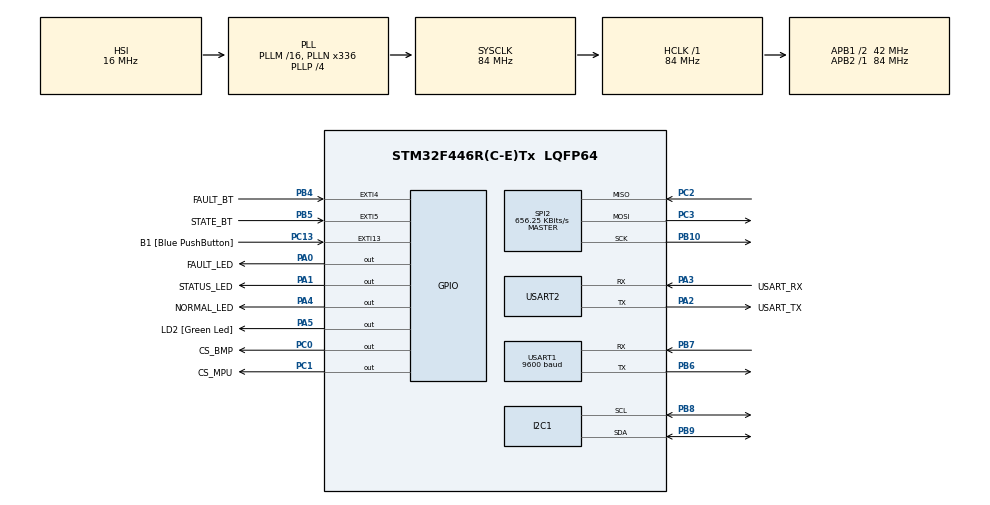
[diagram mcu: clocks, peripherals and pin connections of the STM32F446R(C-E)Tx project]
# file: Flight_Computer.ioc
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FREERTOS.Queues01=sensorFrameQueue,1,sensor_frame_t,0,Dynamic,NULL,NULL;sensorDebugQueue,1,sensor_frame_t,0,Dynamic,NULL,NULL
FREERTOS.Tasks01=defaultTask,24,1024,StartDefaultTask,Default,NULL,Dynamic,NULL,NULL;SensorTask,45,1024,StartSensorTask,Default,NULL,Dynamic,NULL,NULL;StateEstTask,28,512,StartStateEstTask,Default,NULL,Dynamic,NULL,NULL;GPSTask,27,512,StartGPSTask,Default,NULL,Dynamic,NULL,NULL;FaultManageTask,36,512,StartFaultManageTask,Default,NULL,Dynamic,NULL,NULL;LoggerTask,18,512,StartLoggerTask,Default,NULL,Dynamic,NULL,NULL
Mcu.Family=STM32F4
Mcu.Name=STM32F446R(C-E)Tx
Mcu.Package=LQFP64
NVIC.EXTI4_IRQn=true\:5\:0\:false\:false\:true\:true\:true\:true\:true
NVIC.EXTI9_5_IRQn=true\:5\:0\:false\:false\:true\:true\:true\:true\:true
NVIC.EXTI15_10_IRQn=true\:5\:0\:false\:false\:true\:true\:true\:true\:true
NVIC.PriorityGroup=NVIC_PRIORITYGROUP_4
NVIC.USART2_IRQn=true\:5\:0\:false\:false\:true\:true\:true\:true\:true
PA0-WKUP.GPIO_Label=FAULT_LED
PA0-WKUP.Signal=GPIO_Output
PA1.GPIO_Label=STATUS_LED
PA1.Signal=GPIO_Output
PA13.GPIO_Label=TMS
PA13.Mode=Serial_Wire
PA13.Signal=SYS_JTMS-SWDIO
PA14.GPIO_Label=TCK
PA14.Mode=Serial_Wire
PA14.Signal=SYS_JTCK-SWCLK
PA2.GPIO_Label=USART_TX
PA2.Mode=Asynchronous
PA2.Signal=USART2_TX
PA3.GPIO_Label=USART_RX
PA3.Mode=Asynchronous
PA3.Signal=USART2_RX
PA4.GPIO_Label=NORMAL_LED
PA4.Signal=GPIO_Output
PA5.GPIO_Label=LD2 [Green Led]
PA5.Signal=GPIO_Output
PB10.Mode=Full_Duplex_Master
PB10.Signal=SPI2_SCK
PB3.GPIO_Label=SWO
PB3.Signal=SYS_JTDO-SWO
PB4.GPIO_Label=FAULT_BT
PB4.GPIO_ModeDefaultEXTI=GPIO_MODE_IT_FALLING
PB4.GPIO_PuPd=GPIO_PULLUP
PB4.Signal=GPXTI4
PB5.GPIO_Label=STATE_BT
PB5.GPIO_ModeDefaultEXTI=GPIO_MODE_IT_FALLING
PB5.GPIO_PuPd=GPIO_PULLUP
PB5.Signal=GPXTI5
PB6.Mode=Asynchronous
PB6.Signal=USART1_TX
PB7.Mode=Asynchronous
PB7.Signal=USART1_RX
PB8.GPIO_Pu=GPIO_NOPULL
PB8.Mode=I2C
PB8.Signal=I2C1_SCL
PB9.GPIO_Pu=GPIO_NOPULL
PB9.Mode=I2C
PB9.Signal=I2C1_SDA
PC0.GPIO_Label=CS_BMP
PC0.PinState=GPIO_PIN_SET
PC0.Signal=GPIO_Output
PC1.GPIO_Label=CS_MPU
PC1.PinState=GPIO_PIN_SET
PC1.Signal=GPIO_Output
PC13.GPIO_Label=B1 [Blue PushButton]
PC13.GPIO_ModeDefaultEXTI=GPIO_MODE_IT_FALLING
PC13.Signal=GPXTI13
PC14-OSC32_IN.Mode=LSE-External-Oscillator
PC14-OSC32_IN.Signal=RCC_OSC32_IN
PC15-OSC32_OUT.Mode=LSE-External-Oscillator
PC15-OSC32_OUT.Signal=RCC_OSC32_OUT
PC2.Mode=Full_Duplex_Master
PC2.Signal=SPI2_MISO
PC3.Mode=Full_Duplex_Master
PC3.Signal=SPI2_MOSI
PH0-OSC_IN.Mode=HSE-External-Oscillator
PH0-OSC_IN.Signal=RCC_OSC_IN
PH1-OSC_OUT.Mode=HSE-External-Oscillator
PH1-OSC_OUT.Signal=RCC_OSC_OUT
ProjectManager.HeapSize=0x200
ProjectManager.StackSize=0x400
ProjectManager.TargetToolchain=STM32CubeIDE
RCC.48MHZClocksFreq_Value=84000000
RCC.AHBFreq_Value=84000000
RCC.APB1CLKDivider=RCC_HCLK_DIV2
RCC.APB1Freq_Value=42000000
RCC.APB1TimFreq_Value=84000000
RCC.APB2Freq_Value=84000000
RCC.APB2TimFreq_Value=84000000
RCC.CortexFreq_Value=84000000
RCC.FLatency-AdvancedSettings=FLASH_LATENCY_2
RCC.HCLKFreq_Value=84000000
RCC.HSE_VALUE=8000000
RCC.HSI_VALUE=16000000
RCC.PLLN=336
RCC.PLLP=RCC_PLLP_DIV4
RCC.SYSCLKFreq_VALUE=84000000
RCC.SYSCLKSource=RCC_SYSCLKSOURCE_PLLCLK
RCC.USBFreq_Value=168000000
RCC.VCOOutputFreq_Value=336000000
SPI2.BaudRatePrescaler=SPI_BAUDRATEPRESCALER_64
SPI2.CalculateBaudRate=656.25 KBits/s
SPI2.Direction=SPI_DIRECTION_2LINES
SPI2.Mode=SPI_MODE_MASTER
SPI2.VirtualType=VM_MASTER
USART1.BaudRate=9600
USART1.VirtualMode=VM_ASYNC
USART2.VirtualMode=VM_ASYNC
VP_FREERTOS_VS_CMSIS_V2.Mode=CMSIS_V2
board=NUCLEO-F446RE

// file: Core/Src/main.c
/* USER CODE BEGIN Header */
/**
  ******************************************************************************
  * @file           : main.c
  * @brief          : Main program body
  ******************************************************************************
  * @attention
  *
  * Copyright (c) 2026 STMicroelectronics.
  * All rights reserved.
  *
  * This software is licensed under terms that can be found in the LICENSE file
  * in the root directory of this software component.
  * If no LICENSE file comes with this software, it is provided AS-IS.
  *
  ******************************************************************************
  */
/* USER CODE END Header */
#include "main.h"
#include "cmsis_os.h"
#include "i2c.h"
#include "spi.h"
#include "usart.h"
#include "gpio.h"

/* USER CODE BEGIN Includes */
#include "system_health.h"
#include "system_state.h"
#include "self_test.h"
#include "button.h"
#include "led.h"
#include "BMP280.h"
#include "MPU9250.h"
#include "MLX90393.h"
#include "sensor_data.h"
#include "string.h"
#include "stdio.h"
#include <stdbool.h>

/* USER CODE END Includes */

void SystemClock_Config(void);
void MX_FREERTOS_Init(void);

int main(void)
{

  /* MCU Configuration--------------------------------------------------------*/

  /* Reset of all peripherals, Initializes the Flash interface and the Systick. */
  HAL_Init();

  /* Configure the system clock */
  SystemClock_Config();

  /* Initialize all configured peripherals */
  MX_GPIO_Init();
  MX_USART2_UART_Init();
  MX_I2C1_Init();
  MX_SPI2_Init();
  MX_USART1_UART_Init();
  /* USER CODE BEGIN 2 */
  char msg[] = "MAIN STARTED\r\n";
  HAL_UART_Transmit(&huart2,
                    (uint8_t *)msg,
                    strlen(msg),
                    HAL_MAX_DELAY);

  current_system_state = SELF_TEST;

  /* Self Test */

  SelfTest();

  extern volatile BMP_TestResult_t bmp_test_result;
  extern volatile MPU_TestResult_t mpu_test_result;
  extern volatile MLX_TestResult_t mlx_test_result;
  char selftest_data[500];

  sprintf(selftest_data,
          "\r\n"
          "========== SELF TEST ==========\r\n"
          "\r\n"
          "BMP280  : %s\r\n"
          "MPU9250 : %s\r\n"
          "MLX90393: %s\r\n"
          "\r\n"
          "STARTUP SENSOR CHECK: %s\r\n"
          "===============================\r\n",

          (bmp_test_result == BMP_OK) ? "PASS" :
          (bmp_test_result == BMP_READID_FAIL) ? "READ ID FAIL" :
          (bmp_test_result == BMP_ID_FAIL) ? "ID FAIL" :
          (bmp_test_result == BMP_INIT_FAIL) ? "INIT FAIL" :
          (bmp_test_result == BMP_LOAD_FAIL) ? "CALIBRATION FAIL" :
          (bmp_test_result == BMP_READ_FAIL) ? "DATA READ FAIL" :
                                               "UNKNOWN",

          (mpu_test_result == MPU_OK) ? "PASS" :
          (mpu_test_result == MPU_READID_FAIL) ? "READ ID FAIL" :
          (mpu_test_result == MPU_ID_FAIL) ? "ID FAIL" :
          (mpu_test_result == MPU_INIT_FAIL) ? "INIT FAIL" :
          (mpu_test_result == MPU_READ_FAIL) ? "DATA READ FAIL" :
                                               "UNKNOWN",

          (mlx_test_result == MLX_OK) ? "PASS" :
          (mlx_test_result == MLX_I2C_FAIL) ? "I2C FAIL" :
          (mlx_test_result == MLX_CONFIG_FAIL) ? "CONFIG FAIL" :
                                                 "UNKNOWN",

          (current_health_state == NORMAL) ? "PASS" :
          (current_health_state == FAULT) ? "FAULT" :
          (current_health_state == CRITICAL_FAULT) ? "CRITICAL FAULT" : "UNKNOWN"
  );

  HAL_UART_Transmit(&huart2,
                    (uint8_t *)selftest_data,
                    strlen(selftest_data),
                    HAL_MAX_DELAY);

  /* USER CODE END 2 */

  /* Init scheduler */
  osKernelInitialize();  /* Call init function for freertos objects (in cmsis_os2.c) */
  MX_FREERTOS_Init();

  /* Start scheduler */
  osKernelStart();

  /* We should never get here as control is now taken by the scheduler */

  /* Infinite loop */
  while (1)
  {

  }
}

void SystemClock_Config(void)
{
  RCC_OscInitTypeDef RCC_OscInitStruct = {0};
  RCC_ClkInitTypeDef RCC_ClkInitStruct = {0};

  /** Configure the main internal regulator output voltage
  */
  __HAL_RCC_PWR_CLK_ENABLE();
  __HAL_PWR_VOLTAGESCALING_CONFIG(PWR_REGULATOR_VOLTAGE_SCALE3);

  /** Initializes the RCC Oscillators according to the specified parameters
  * in the RCC_OscInitTypeDef structure.
  */
  RCC_OscInitStruct.OscillatorType = RCC_OSCILLATORTYPE_HSI;
  RCC_OscInitStruct.HSIState = RCC_HSI_ON;
  RCC_OscInitStruct.HSICalibrationValue = RCC_HSICALIBRATION_DEFAULT;
  RCC_OscInitStruct.PLL.PLLState = RCC_PLL_ON;
  RCC_OscInitStruct.PLL.PLLSource = RCC_PLLSOURCE_HSI;
  RCC_OscInitStruct.PLL.PLLM = 16;
  RCC_OscInitStruct.PLL.PLLN = 336;
  RCC_OscInitStruct.PLL.PLLP = RCC_PLLP_DIV4;
  RCC_OscInitStruct.PLL.PLLQ = 2;
  RCC_OscInitStruct.PLL.PLLR = 2;
  if (HAL_RCC_OscConfig(&RCC_OscInitStruct) != HAL_OK)
  {
    Error_Handler();
  }

  /** Initializes the CPU, AHB and APB buses clocks
  */
  RCC_ClkInitStruct.ClockType = RCC_CLOCKTYPE_HCLK|RCC_CLOCKTYPE_SYSCLK
                              |RCC_CLOCKTYPE_PCLK1|RCC_CLOCKTYPE_PCLK2;
  RCC_ClkInitStruct.SYSCLKSource = RCC_SYSCLKSOURCE_PLLCLK;
  RCC_ClkInitStruct.AHBCLKDivider = RCC_SYSCLK_DIV1;
  RCC_ClkInitStruct.APB1CLKDivider = RCC_HCLK_DIV2;
  RCC_ClkInitStruct.APB2CLKDivider = RCC_HCLK_DIV1;

  if (HAL_RCC_ClockConfig(&RCC_ClkInitStruct, FLASH_LATENCY_2) != HAL_OK)
  {
    Error_Handler();
  }
}

void Error_Handler(void)
{
  __disable_irq();
  while (1)
  {
  }
}

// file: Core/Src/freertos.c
/* USER CODE BEGIN Header */
/**
  ******************************************************************************
  * File Name          : freertos.c
  * Description        : Code for freertos applications
  ******************************************************************************
  * @attention
  *
  * Copyright (c) 2026 STMicroelectronics.
  * All rights reserved.
  *
  * This software is licensed under terms that can be found in the LICENSE file
  * in the root directory of this software component.
  * If no LICENSE file comes with this software, it is provided AS-IS.
  *
  ******************************************************************************
  */
/* USER CODE END Header */

#include "FreeRTOS.h"
#include "task.h"
#include "main.h"
#include "cmsis_os.h"

/* USER CODE BEGIN Includes */
#include "led.h"
#include "system_health.h"
#include "system_state.h"
#include "BMP280.h"
#include "MPU9250.h"
#include "MLX90393.h"
#include "sensor_data.h"
#include "usart.h"
#include "button.h"
#include "gps.h"
#include "mahony.h"

#include <stdio.h>
#include <string.h>
#include <stdlib.h>
/* USER CODE END Includes */

/* USER CODE BEGIN Variables */

/* Debugger-visible indicators that StateEstTask is receiving sensor frames. */
static sensor_frame_t estimator_latest_frame;
static volatile uint32_t estimator_frame_count;
static volatile float estimator_dt_seconds;

/* USER CODE END Variables */
/* Definitions for defaultTask */
osThreadId_t defaultTaskHandle;
const osThreadAttr_t defaultTask_attributes = {
  .name = "defaultTask",
  .stack_size = 1024 * 4,
  .priority = (osPriority_t) osPriorityNormal,
};
/* Definitions for SensorTask */
osThreadId_t SensorTaskHandle;
const osThreadAttr_t SensorTask_attributes = {
  .name = "SensorTask",
  .stack_size = 1024 * 4,
  .priority = (osPriority_t) osPriorityHigh5,
};
/* Definitions for StateEstTask */
osThreadId_t StateEstTaskHandle;
const osThreadAttr_t StateEstTask_attributes = {
  .name = "StateEstTask",
  .stack_size = 512 * 4,
  .priority = (osPriority_t) osPriorityNormal4,
};
/* Definitions for GPSTask */
osThreadId_t GPSTaskHandle;
const osThreadAttr_t GPSTask_attributes = {
  .name = "GPSTask",
  .stack_size = 512 * 4,
  .priority = (osPriority_t) osPriorityNormal3,
};
/* Definitions for FaultManageTask */
osThreadId_t FaultManageTaskHandle;
const osThreadAttr_t FaultManageTask_attributes = {
  .name = "FaultManageTask",
  .stack_size = 512 * 4,
  .priority = (osPriority_t) osPriorityAboveNormal4,
};
/* Definitions for LoggerTask */
osThreadId_t LoggerTaskHandle;
const osThreadAttr_t LoggerTask_attributes = {
  .name = "LoggerTask",
  .stack_size = 512 * 4,
  .priority = (osPriority_t) osPriorityBelowNormal2,
};
/* Definitions for sensorFrameQueue */
osMessageQueueId_t sensorFrameQueueHandle;
const osMessageQueueAttr_t sensorFrameQueue_attributes = {
  .name = "sensorFrameQueue"
};
/* Definitions for sensorDebugQueue */
osMessageQueueId_t sensorDebugQueueHandle;
const osMessageQueueAttr_t sensorDebugQueue_attributes = {
  .name = "sensorDebugQueue"
};

void StartDefaultTask(void *argument);
void StartSensorTask(void *argument);
void StartStateEstTask(void *argument);
void StartGPSTask(void *argument);
void StartFaultManageTask(void *argument);
void StartLoggerTask(void *argument);

void MX_FREERTOS_Init(void); /* (MISRA C 2004 rule 8.1) */

void MX_FREERTOS_Init(void) {

  /* Create the queue(s) */
  /* creation of sensorFrameQueue */
  sensorFrameQueueHandle = osMessageQueueNew (1, sizeof(sensor_frame_t), &sensorFrameQueue_attributes);

  /* creation of sensorDebugQueue */
  sensorDebugQueueHandle = osMessageQueueNew (1, sizeof(sensor_frame_t), &sensorDebugQueue_attributes);

  /* USER CODE BEGIN RTOS_QUEUES */

  if ((sensorFrameQueueHandle == NULL) ||
      (sensorDebugQueueHandle == NULL))
  {
      static const char error[] = "RTOS ERROR: queue creation failed\r\n";
      (void)HAL_UART_Transmit(&huart2, (uint8_t *)error, sizeof(error) - 1U, 100U);
      Error_Handler();
  }

  /* USER CODE END RTOS_QUEUES */

  /* Create the thread(s) */
  /* creation of defaultTask */
  defaultTaskHandle = osThreadNew(StartDefaultTask, NULL, &defaultTask_attributes);

  /* creation of SensorTask */
  SensorTaskHandle = osThreadNew(StartSensorTask, NULL, &SensorTask_attributes);

  /* creation of StateEstTask */
  StateEstTaskHandle = osThreadNew(StartStateEstTask, NULL, &StateEstTask_attributes);

  /* creation of GPSTask */
  GPSTaskHandle = osThreadNew(StartGPSTask, NULL, &GPSTask_attributes);

  /* creation of FaultManageTask */
  FaultManageTaskHandle = osThreadNew(StartFaultManageTask, NULL, &FaultManageTask_attributes);

  /* creation of LoggerTask */
  LoggerTaskHandle = osThreadNew(StartLoggerTask, NULL, &LoggerTask_attributes);

  if (!defaultTaskHandle || !SensorTaskHandle || !StateEstTaskHandle ||
      !GPSTaskHandle || !FaultManageTaskHandle || !LoggerTaskHandle) {
      static const char error[] = "RTOS ERROR: task creation failed\r\n";
      (void)HAL_UART_Transmit(&huart2, (uint8_t *)error, sizeof(error) - 1U, 100U);
      Error_Handler();
  }

}

void StartDefaultTask(void *argument)
{
    sensor_frame_t frame;
    gps_data_t gps;
    char output[600];
    int length;
    uint8_t got_frame;
    uint32_t last_queue_warning = 0U;

    (void)argument;
    for (;;) {
        osDelay(1000U);
        got_frame = 0U;
        while (osMessageQueueGet(sensorDebugQueueHandle, &frame, NULL, 0U) == osOK) got_frame = 1U;
        if (!got_frame) {
            if ((uint32_t)(HAL_GetTick() - last_queue_warning) >= 5000U) {
                static const char warning[] = "DEBUG: no sensor frame received\r\n";
                (void)HAL_UART_Transmit(&huart2, (uint8_t *)warning, sizeof(warning) - 1U, 100U);
                last_queue_warning = HAL_GetTick();
            }
            continue;
        }

        taskENTER_CRITICAL();
        gps.latitude_deg = gps_data.latitude_deg;
        gps.longitude_deg = gps_data.longitude_deg;
        gps.altitude_m = gps_data.altitude_m;
        gps.tick_ms = gps_data.tick_ms;
        gps.fix = gps_data.fix;
        gps.satellites = gps_data.satellites;
        taskEXIT_CRITICAL();

        float roll, pitch, yaw;
        taskENTER_CRITICAL();
        roll = estimator_latest_frame.roll_deg;
        pitch = estimator_latest_frame.pitch_deg;
        yaw = estimator_latest_frame.yaw_deg;
        taskEXIT_CRITICAL();

        length = snprintf(output, sizeof(output),
            "\r\n--- Sensor snapshot ---\r\n"
            "Accel raw [counts]:       %d, %d, %d\r\n"
            "Accel converted [g]:      %ld.%03ld, %ld.%03ld, %ld.%03ld\r\n"
            "Gyro raw [counts]:        %d, %d, %d\r\n"
            "Gyro converted [deg/s]:  %ld.%02ld, %ld.%02ld, %ld.%02ld\r\n"
            "Mag raw [counts]:         %d, %d, %d\r\n"
            "Mag converted [uT]:      %ld.%02ld, %ld.%02ld, %ld.%02ld\r\n"
            "Barometer raw T/P:        %ld, %ld\r\n"
            "Barometer converted:      %ld.%02ld C, %ld Pa\r\n"
            "Attitude [deg] R/P/Y:     %ld.%02ld, %ld.%02ld, %ld.%02ld\r\n"
            "GPS: %s, satellites %u\r\n"
            "GPS position:             %ld.%06ld, %ld.%06ld deg\r\n"
            "GPS altitude:             %ld.%02ld m\r\n",
            (int)frame.accel_raw[0], (int)frame.accel_raw[1], (int)frame.accel_raw[2],
            (long)(frame.accel_g[0] * 1000) / 1000, labs((long)(frame.accel_g[0] * 1000) % 1000),
            (long)(frame.accel_g[1] * 1000) / 1000, labs((long)(frame.accel_g[1] * 1000) % 1000),
            (long)(frame.accel_g[2] * 1000) / 1000, labs((long)(frame.accel_g[2] * 1000) % 1000),
            (int)frame.gyro_raw[0], (int)frame.gyro_raw[1], (int)frame.gyro_raw[2],
            (long)(frame.gyro_dps[0] * 100), labs((long)(frame.gyro_dps[0] * 100) % 100),
            (long)(frame.gyro_dps[1] * 100), labs((long)(frame.gyro_dps[1] * 100) % 100),
            (long)(frame.gyro_dps[2] * 100), labs((long)(frame.gyro_dps[2] * 100) % 100),
            (int)frame.mag_raw[0], (int)frame.mag_raw[1], (int)frame.mag_raw[2],
            (long)(frame.mag_uT[0] * 100), labs((long)(frame.mag_uT[0] * 100) % 100),
            (long)(frame.mag_uT[1] * 100), labs((long)(frame.mag_uT[1] * 100) % 100),
            (long)(frame.mag_uT[2] * 100), labs((long)(frame.mag_uT[2] * 100) % 100),
            (long)frame.baro_temp_raw, (long)frame.baro_pressure_raw,
            (long)(frame.temperature_c * 100) / 100, labs((long)(frame.temperature_c * 100) % 100),
            (long)frame.pressure_pa,
            (long)(roll * 100) / 100, labs((long)(roll * 100) % 100),
            (long)(pitch * 100) / 100, labs((long)(pitch * 100) % 100),
            (long)(yaw * 100) / 100, labs((long)(yaw * 100) % 100),
            (gps.fix && (HAL_GetTick() - gps.tick_ms < 3000U)) ? "FIX" : "NO FIX/STALE", gps.satellites,
            (long)gps.latitude_deg, labs((long)(gps.latitude_deg * 1000000) % 1000000),
            (long)gps.longitude_deg, labs((long)(gps.longitude_deg * 1000000) % 1000000),
            (long)(gps.altitude_m * 100) / 100, labs((long)(gps.altitude_m * 100) % 100));

        if (length < 0 || (size_t)length >= sizeof(output)) {
            static const char warning[] = "DEBUG: sensor report formatting failed or was truncated\r\n";
            (void)HAL_UART_Transmit(&huart2, (uint8_t *)warning, sizeof(warning) - 1U, 100U);
        } else if (HAL_UART_Transmit(&huart2, (uint8_t *)output, (uint16_t)length, 500U) != HAL_OK) {
            static const char warning[] = "DEBUG: USART2 transmit failed\r\n";
            (void)HAL_UART_Transmit(&huart2, (uint8_t *)warning, sizeof(warning) - 1U, 100U);
        }
    }
}

void StartSensorTask(void *argument)
{
  /* USER CODE BEGIN StartSensorTask */
    sensor_frame_t frame = {0};
    sensor_frame_t discarded_frame;
    sensor_frame_t discarded_debug_frame;
    TickType_t last_wake = xTaskGetTickCount();

    uint32_t now;
    uint32_t baro_last_tick = HAL_GetTick() - 40U;
    uint32_t mag_last_start_tick = HAL_GetTick() - 20U;
    uint32_t mag_start_tick = 0U;
    uint8_t mag_pending = 0U;
    HAL_StatusTypeDef status;

    (void)argument;

    for (;;)
    {
        frame.valid_mask = 0U;
        /* IMU: sample once per 10 ms cycle. */
        status = MPU9250_ReadRaw(
            &sensor_data.accel_raw_x,
            &sensor_data.accel_raw_y,
            &sensor_data.accel_raw_z,
            &sensor_data.gyro_raw_x,
            &sensor_data.gyro_raw_y,
            &sensor_data.gyro_raw_z,
            &sensor_data.temp_raw);

        SystemHealth_ReportSensor(SENSOR_MPU9250, status);

        if (status == HAL_OK)
        {
        	frame.accel_raw[0] = sensor_data.accel_raw_x;
        	frame.accel_raw[1] = sensor_data.accel_raw_y;
        	frame.accel_raw[2] = sensor_data.accel_raw_z;

        	frame.gyro_raw[0] = sensor_data.gyro_raw_x;
        	frame.gyro_raw[1] = sensor_data.gyro_raw_y;
        	frame.gyro_raw[2] = sensor_data.gyro_raw_z;
        	frame.imu_temp_raw = sensor_data.temp_raw;

            frame.accel_g[0] = (float)sensor_data.accel_raw_x / 16384.0f;
            frame.accel_g[1] = (float)sensor_data.accel_raw_y / 16384.0f;
            frame.accel_g[2] = (float)sensor_data.accel_raw_z / 16384.0f;

            frame.gyro_dps[0] = (float)sensor_data.gyro_raw_x / 131.0f;
            frame.gyro_dps[1] = (float)sensor_data.gyro_raw_y / 131.0f;
            frame.gyro_dps[2] = (float)sensor_data.gyro_raw_z / 131.0f;

            frame.imu_tick_ms = HAL_GetTick();
            frame.valid_mask |= SENSOR_FRAME_IMU_VALID;
        }

        /* BMP280: sample at 25 Hz. */
        now = HAL_GetTick();
        if ((uint32_t)(now - baro_last_tick) >= 40U)
        {
            int32_t temperature_centi_c;
            uint32_t pressure_q24_8;

            baro_last_tick = now;
            status = BMP280_ReadRaw(
                &sensor_data.temperature_raw,
                &sensor_data.pressure_raw);

            SystemHealth_ReportSensor(SENSOR_BMP280, status);

            if (status == HAL_OK)
            {
                temperature_centi_c =
                    BMP280_CompensateTemp(sensor_data.temperature_raw);
                pressure_q24_8 =
                    BMP280_CompensatePressure(sensor_data.pressure_raw);

                frame.baro_temp_raw = sensor_data.temperature_raw;
                frame.baro_pressure_raw = sensor_data.pressure_raw;

                frame.temperature_c = (float)temperature_centi_c / 100.0f;
                frame.pressure_pa = (float)pressure_q24_8 / 256.0f;
                sensor_data.temperature = frame.temperature_c;
                sensor_data.pressure = frame.pressure_pa;

                frame.baro_tick_ms = HAL_GetTick();
                frame.valid_mask |= SENSOR_FRAME_BARO_VALID;
            }
        }

        /* Finish an MLX90393 conversion without blocking the IMU schedule. */
        now = HAL_GetTick();
        if ((mag_pending != 0U) &&
            ((uint32_t)(now - mag_start_tick) >= 20U))
        {
            status = MLX90393_ReadMeasurement(
                &sensor_data.mag_raw_x,
                &sensor_data.mag_raw_y,
                &sensor_data.mag_raw_z);

            SystemHealth_ReportSensor(SENSOR_MLX90393, status);

            if (status == HAL_OK)
            {
                MLX90393_RawTo_uT(
                    &sensor_data.mag_raw_x,
                    &sensor_data.mag_raw_y,
                    &sensor_data.mag_raw_z,
                    &sensor_data.mag_x_uT,
                    &sensor_data.mag_y_uT,
                    &sensor_data.mag_z_uT);

                frame.mag_raw[0] = sensor_data.mag_raw_x;
                frame.mag_raw[1] = sensor_data.mag_raw_y;
                frame.mag_raw[2] = sensor_data.mag_raw_z;

                frame.mag_uT[0] = sensor_data.mag_x_uT;
                frame.mag_uT[1] = sensor_data.mag_y_uT;
                frame.mag_uT[2] = sensor_data.mag_z_uT;
                frame.mag_tick_ms = HAL_GetTick();
                frame.valid_mask |= SENSOR_FRAME_MAG_VALID;
            }

            mag_pending = 0U;
        }

        now = HAL_GetTick();
        if ((mag_pending == 0U) &&
            ((uint32_t)(now - mag_last_start_tick) >= 20U))
        {
            status = MLX90393_StartMeasurement();
            mag_last_start_tick = now;

            if (status == HAL_OK)
            {
                mag_pending = 1U;
                mag_start_tick = now;
            }
            else
            {
                SystemHealth_ReportSensor(SENSOR_MLX90393, status);
            }
        }

        /* Keep only the newest frame if StateEstTask falls behind. */
        if (osMessageQueuePut(sensorFrameQueueHandle, &frame, 0U, 0U) != osOK)
        {
            (void)osMessageQueueGet(
                sensorFrameQueueHandle, &discarded_frame, NULL, 0U);
            (void)osMessageQueuePut(sensorFrameQueueHandle, &frame, 0U, 0U);
        }

        if (osMessageQueuePut(
                sensorDebugQueueHandle, &frame, 0U, 0U) != osOK)
        {
            (void)osMessageQueueGet(
                sensorDebugQueueHandle,
                &discarded_debug_frame,
                NULL,
                0U);

            (void)osMessageQueuePut(
                sensorDebugQueueHandle, &frame, 0U, 0U);
        }

        vTaskDelayUntil(&last_wake, pdMS_TO_TICKS(10U));
    }
  /* USER CODE END StartSensorTask */
}

void StartStateEstTask(void *argument)
{
  /* USER CODE BEGIN StartStateEstTask */
    sensor_frame_t frame;
    uint32_t previous_imu_tick_ms = 0U;
    uint32_t elapsed_ms;
    mahony_t filter;
    Mahony_Init(&filter);

    (void)argument;

    for (;;)
    {
        if (osMessageQueueGet(
                sensorFrameQueueHandle,
                &frame,
                NULL,
                osWaitForever) == osOK)
        {
            uint32_t now = HAL_GetTick();

            if (((frame.valid_mask & SENSOR_FRAME_IMU_VALID) != 0U) &&
                ((uint32_t)(now - frame.imu_tick_ms) <= 100U))
            {
                if (previous_imu_tick_ms != 0U)
                {
                    elapsed_ms = frame.imu_tick_ms - previous_imu_tick_ms;
                    estimator_dt_seconds = (float)elapsed_ms / 1000.0f;
                    Mahony_Update(&filter, frame.gyro_dps[0], frame.gyro_dps[1], frame.gyro_dps[2], frame.accel_g[0], frame.accel_g[1], frame.accel_g[2], frame.mag_uT[0], frame.mag_uT[1], frame.mag_uT[2], (float)elapsed_ms / 1000.0f);
                    taskENTER_CRITICAL();
                    estimator_latest_frame = frame;
                    estimator_latest_frame.roll_deg = filter.roll_deg;
                    estimator_latest_frame.pitch_deg = filter.pitch_deg;
                    estimator_latest_frame.yaw_deg = filter.yaw_deg;
                    taskEXIT_CRITICAL();
                    estimator_frame_count++;
                }
                previous_imu_tick_ms = frame.imu_tick_ms;
            }
        }
    }
  /* USER CODE END StartStateEstTask */
}

void StartGPSTask(void *argument)
{
  (void)GPS_Init();
  GPS_Task(argument);
}

void StartFaultManageTask(void *argument)
{
  /* USER CODE BEGIN StartFaultManageTask */

	uint32_t button_events;

  /* Infinite loop */
  for(;;)
  {
	  button_events = GPIO_Button_TakePendingEvents();

      if (button_events != 0U)
      {
          GPIO_Button_ProcessEvents(button_events);
      }

      SystemHealth_Update();
      SystemState_Update();
      handle_system_health();
      handle_system_state();

      osDelay(100U);
  }
  /* USER CODE END StartFaultManageTask */
}

void StartLoggerTask(void *argument)
{
  for(;;)
  {
    osDelay(1);
  }
}
